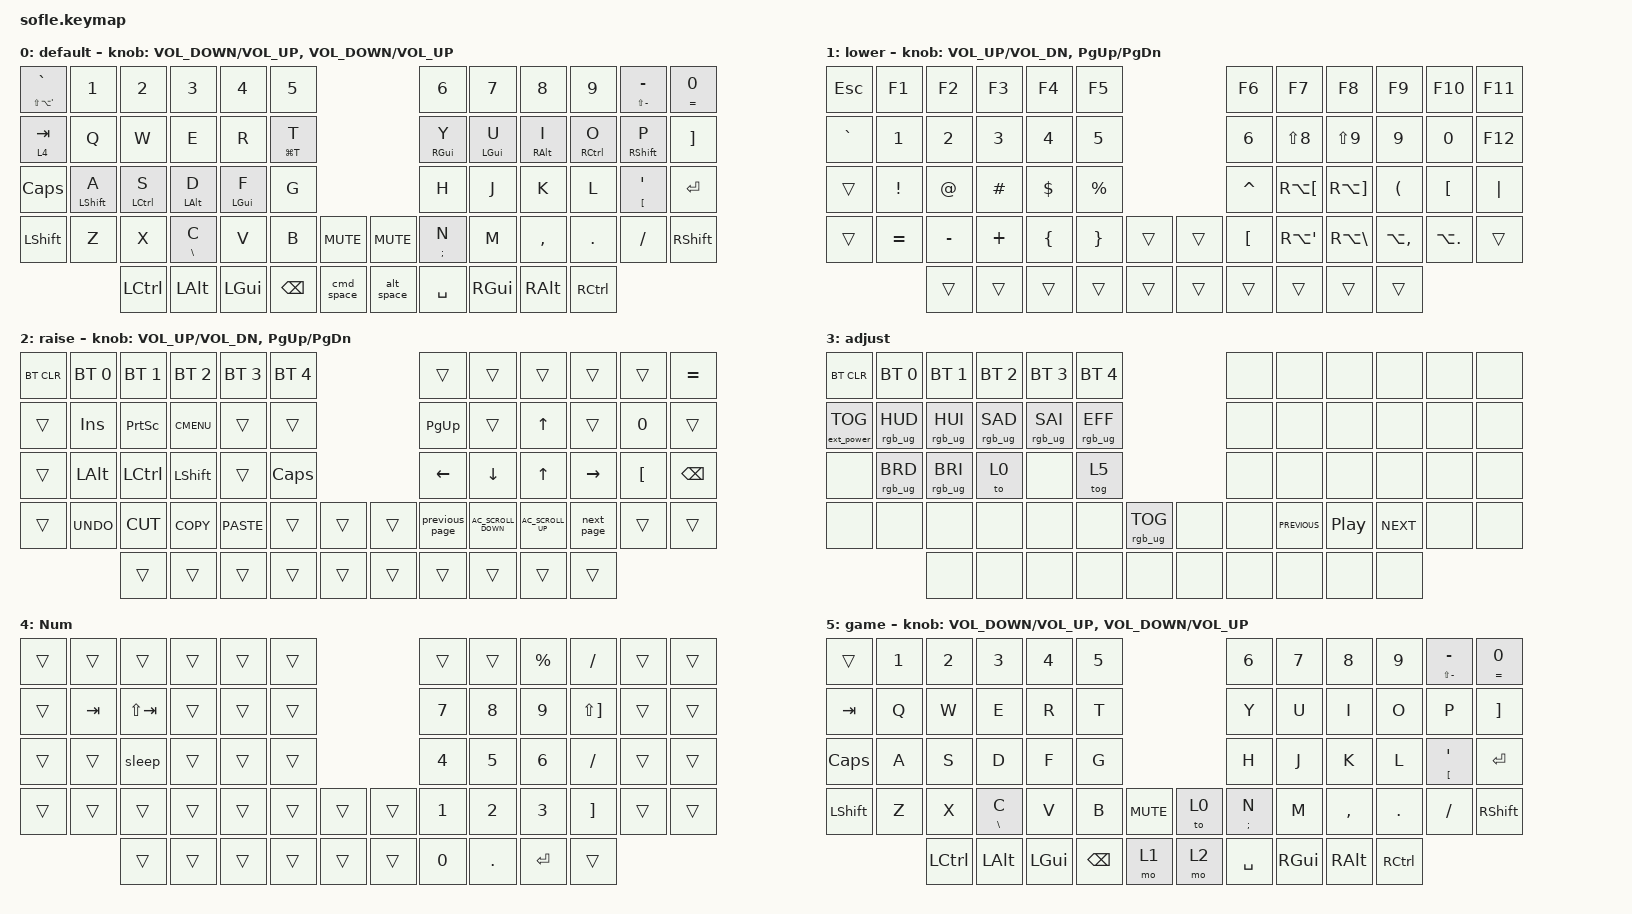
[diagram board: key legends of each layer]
/*
 * Copyright (c) 2020 The ZMK Contributors
 *
 * SPDX-License-Identifier: MIT
 */

#include <behaviors.dtsi>
#include <dt-bindings/zmk/bt.h>
#include <dt-bindings/zmk/ext_power.h>
#include <dt-bindings/zmk/keys.h>
#include <dt-bindings/zmk/rgb.h>

#define BASE 0
#define LOWER 1
#define RAISE 2
#define ADJUST 3

&mt {
    flavor = "tap-preferred";
    quick-tap-ms = <100>;
    require-prior-idle-ms = <125>;
    tapping-term-ms = <150>;
};

/ {
    // Activate ADJUST layer by pressing raise and lower

    conditional_layers {
        compatible = "zmk,conditional-layers";

        adjust_layer {
            if-layers = <1 2>;
            then-layer = <3>;
        };
    };

    behaviors {
        c_trencada: c_trencada {
            compatible = "zmk,behavior-hold-tap";
            label = "C_TRENCADA";
            bindings = <&kp>, <&kp>;

            #binding-cells = <2>;
            tapping-term-ms = <150>;
            hold-trigger-key-positions = <39>;
            quick-tap-ms = <50>;
            flavor = "tap-preferred";
            require-prior-idle-ms = <125>;
        };

        new_behavior2: new_behavior2 {
            compatible = "zmk,behavior-hold-tap";
            label = "NEW_BEHAVIOR2";
            bindings = <&mo>, <&kp>;

            #binding-cells = <2>;
            hold-trigger-key-positions = <12>;
            tapping-term-ms = <200>;
            quick-tap-ms = <100>;
            require-prior-idle-ms = <100>;
        };

        enya: enya {
            compatible = "zmk,behavior-hold-tap";
            label = "ENYA";
            bindings = <&kp>, <&kp>;

            #binding-cells = <2>;
            tapping-term-ms = <150>;
            quick-tap-ms = <50>;
            hold-trigger-key-positions = <44>;
            flavor = "tap-preferred";
            require-prior-idle-ms = <125>;
        };

        cmd_space: cmd_space {
            compatible = "zmk,behavior-tap-dance";
            label = "CMD_SPACE";
            #binding-cells = <0>;
            bindings = <&mo 1>, <&kp LG(SPACE)>;

            tapping-term-ms = <200>;
        };

        alt_space: alt_space {
            compatible = "zmk,behavior-tap-dance";
            label = "ALT_SPACE";
            #binding-cells = <0>;
            bindings = <&mo 2>, <&kp LA(SPACE)>;

            tapping-term-ms = <200>;
        };

        service_mode: service_mode {
            compatible = "zmk,behavior-hold-tap";
            label = "SERVICE_MODE";
            bindings = <&kp>, <&kp>;

            #binding-cells = <2>;
            tapping-term-ms = <150>;
            hold-trigger-key-positions = <0>;
        };

        cmd_t: cmd_t {
            compatible = "zmk,behavior-hold-tap";
            label = "CMD_T";
            bindings = <&kp>, <&kp>;

            #binding-cells = <2>;
            tapping-term-ms = <150>;
            flavor = "tap-preferred";
            hold-trigger-key-positions = <17>;
            require-prior-idle-ms = <125>;
        };
    };

    macros {
        previous_page: previous_page {
            compatible = "zmk,behavior-macro";
            #binding-cells = <0>;
            bindings = <&kp RG(SEMICOLON)>;
            label = "PREVIOUS_PAGE";
        };

        next_page: next_page {
            compatible = "zmk,behavior-macro";
            #binding-cells = <0>;
            bindings = <&kp RG(SINGLE_QUOTE)>;
            label = "NEXT_PAGE";
        };

        sleep: sleep {
            compatible = "zmk,behavior-macro";
            #binding-cells = <0>;
            bindings = <&kp LA(LG(LC(EQUAL)))>;
            label = "SLEEP";
        };
    };

    keymap {
        compatible = "zmk,keymap";

        default_layer {
            display-name = "default";

            // ------------------------------------------------------------------------------------------------------------
            // |   `   |  1  |  2  |  3   |  4   |  5   |                   |  6   |  7    |  8    |  9   |   0   |       |
            // |  ESC  |  Q  |  W  |  E   |  R   |  T   |                   |  Y   |  U    |  I    |  O   |   P   | BKSPC |
            // |  TAB  |  A  |  S  |  D   |  F   |  G   |                   |  H   |  J    |  K    |  L   |   ;   |   '   |
            // | SHIFT |  Z  |  X  |  C   |  V   |  B   |  MUTE  |  |       |  N   |  M    |  ,    |  .   |   /   | SHIFT |
            //               | GUI | ALT  | CTRL | LOWER|  ENTER |  | SPACE | RAISE| CTRL  | ALT   | GUI  |

            bindings = <
&service_mode LS(LA(SINGLE_QUOTE)) GRAVE  &kp N1            &kp N2       &kp N3                   &kp N4          &kp N5                                    &kp N6             &kp N7          &kp N8           &kp N9       &c_trencada LS(MINUS) MINUS            &c_trencada EQUAL N0
&new_behavior2 4 TAB                      &kp Q             &kp W        &kp E                    &kp R           &cmd_t LG(T) T                            &mt RIGHT_GUI Y    &mt LEFT_GUI U  &mt RIGHT_ALT I  &mt RCTRL O  &mt RIGHT_SHIFT P                      &kp RIGHT_BRACKET
&kp CAPS                                  &mt LEFT_SHIFT A  &mt LCTRL S  &mt LEFT_ALT D           &mt LEFT_GUI F  &kp G                                     &kp H              &kp J           &kp K            &kp L        &c_trencada LEFT_BRACKET SINGLE_QUOTE  &kp RETURN
&kp LSHFT                                 &kp Z             &kp X        &c_trencada BACKSLASH C  &kp V           &kp B           &kp C_MUTE    &kp C_MUTE  &enya SEMICOLON N  &kp M           &kp COMMA        &kp DOT      &kp FSLH                               &kp RSHFT
                                                            &kp LCTRL    &kp LALT                 &kp LGUI        &kp BACKSPACE   &cmd_space    &alt_space  &kp SPACE          &kp RGUI        &kp RALT         &kp RCTRL
            >;

            sensor-bindings =
                <&inc_dec_kp C_VOLUME_DOWN C_VOLUME_UP>,
                <&inc_dec_kp C_VOLUME_DOWN C_VOLUME_UP>;
        };

        lower_layer {
            display-name = "lower";

            // TODO: Some binds are waiting for shifted keycode support.
            // ------------------------------------------------------------------------------------------------------------
            // |       |  F1 |  F2 |  F3  |  F4  |  F5  |                   |  F6  |  F7   |  F8   |  F9  |  F10  |  F11  |
            // |   `   |  1  |  2  |  3   |  4   |  5   |                   |  6   |  7    |  8    |  9   |   0   |  F12  |
            // |       |  !  |  @  |  #   |  $   |  %   |                   |  ^   |  &    |  *    |  (   |   )   |   |   |
            // |       |  =  |  -  |  +   |  {   |  }   |        |  |       |  [   |  ]    |  ;    |  :   |   \   |       |
            //               |     |      |      |      |        |  |       |      |       |       |      |

            bindings = <
&kp ESCAPE  &kp F1     &kp F2     &kp F3    &kp F4    &kp F5                       &kp F6     &kp F7                &kp F8                 &kp F9         &kp F10           &kp F11
&kp GRAVE   &kp N1     &kp N2     &kp N3    &kp N4    &kp N5                       &kp N6     &kp LS(NUMBER_8)      &kp LS(NUMBER_9)       &kp N9         &kp N0            &kp F12
&trans      &kp EXCL   &kp AT     &kp HASH  &kp DLLR  &kp PRCNT                    &kp CARET  &kp RA(LEFT_BRACKET)  &kp RA(RIGHT_BRACKET)  &kp LPAR       &kp LEFT_BRACKET  &kp PIPE
&trans      &kp EQUAL  &kp MINUS  &kp PLUS  &kp LBRC  &kp RBRC   &trans    &trans  &kp LBKT   &kp RA(SINGLE_QUOTE)  &kp RA(BACKSLASH)      &kp LA(COMMA)  &kp LA(PERIOD)    &trans
                       &trans     &trans    &trans    &trans     &trans    &trans  &trans     &trans                &trans                 &trans
            >;

            sensor-bindings = <&inc_dec_kp C_VOL_UP C_VOL_DN &inc_dec_kp PG_UP PG_DN>;
        };

        raise_layer {
            display-name = "raise";

            // ------------------------------------------------------------------------------------------------------------
            // | BTCLR | BT1  | BT2  |  BT3  |  BT4  |  BT5 |                |      |      |       |      |       |       |
            // |       | INS  | PSCR | GUI   |       |      |                | PGUP |      |   ^   |      |       |       |
            // |       | ALT  | CTRL | SHIFT |       | CAPS |                | PGDN |   <- |   v   |  ->  |  DEL  | BKSPC |
            // |       | UNDO | CUT  | COPY  | PASTE |      |      |  |      |      |      |       |      |       |       |
            //                |      |       |       |      |      |  |      |      |      |       |      |

            bindings = <
&bt BT_CLR  &bt BT_SEL 0  &bt BT_SEL 1  &bt BT_SEL 2  &bt BT_SEL 3  &bt BT_SEL 4                    &trans          &trans                &trans              &trans      &trans            &kp EQUAL
&trans      &kp INS       &kp PSCRN     &kp K_CMENU   &trans        &trans                          &kp PG_UP       &trans                &kp UP              &trans      &kp N0            &trans
&trans      &kp LALT      &kp LCTRL     &kp LSHFT     &trans        &kp CLCK                        &kp LEFT_ARROW  &kp DOWN_ARROW        &kp UP_ARROW        &kp RIGHT   &kp LEFT_BRACKET  &kp BSPC
&trans      &kp K_UNDO    &kp K_CUT     &kp K_COPY    &kp K_PASTE   &trans        &trans    &trans  &previous_page  &kp C_AC_SCROLL_DOWN  &kp C_AC_SCROLL_UP  &next_page  &trans            &trans
                          &trans        &trans        &trans        &trans        &trans    &trans  &trans          &trans                &trans              &trans
            >;

            sensor-bindings = <&inc_dec_kp C_VOL_UP C_VOL_DN &inc_dec_kp PG_UP PG_DN>;
        };

        adjust_layer {
            // ----------------------------------------------------------------------------------------------------------------------------
            // | BTCLR  |  BT1    |  BT2    |   BT3   |   BT4   |   BT5   |                  |      |      |       |      |       |       |
            // | EXTPWR | RGB_HUD | RGB_HUI | RGB_SAD | RGB_SAI | RGB_EFF |                  |      |      |       |      |       |       |
            // |        | RGB_BRD | RGB_BRI |         |         |         |                  |      |      |       |      |       |       |
            // |        |         |         |         |         |         | RGB_TOG | |      |      |      |       |      |       |       |
            //                    |         |         |         |         |         | |      |      |      |       |      |

            display-name = "adjust";
            bindings = <
&bt BT_CLR         &bt BT_SEL 0     &bt BT_SEL 1     &bt BT_SEL 2     &bt BT_SEL 3     &bt BT_SEL 4                               &none  &none           &none             &none       &none  &none
&ext_power EP_TOG  &rgb_ug RGB_HUD  &rgb_ug RGB_HUI  &rgb_ug RGB_SAD  &rgb_ug RGB_SAI  &rgb_ug RGB_EFF                            &none  &none           &none             &none       &none  &none
&none              &rgb_ug RGB_BRD  &rgb_ug RGB_BRI  &to 0            &none            &tog 5                                     &none  &none           &none             &none       &none  &none
&none              &none            &none            &none            &none            &none            &rgb_ug RGB_TOG    &none  &none  &kp C_PREVIOUS  &kp C_PLAY_PAUSE  &kp C_NEXT  &none  &none
                                    &none            &none            &none            &none            &none              &none  &none  &none           &none             &none
            >;
        };

        layer_num {
            bindings = <
&trans  &trans   &trans       &trans  &trans  &trans                    &trans  &trans   &kp PERCENT  &kp SLASH              &trans  &trans
&trans  &kp TAB  &kp LS(TAB)  &trans  &trans  &trans                    &kp N7  &kp N8   &kp N9       &kp LS(RIGHT_BRACKET)  &trans  &trans
&trans  &trans   &sleep       &trans  &trans  &trans                    &kp N4  &kp N5   &kp N6       &kp SLASH              &trans  &trans
&trans  &trans   &trans       &trans  &trans  &trans  &trans    &trans  &kp N1  &kp N2   &kp N3       &kp RIGHT_BRACKET      &trans  &trans
                 &trans       &trans  &trans  &trans  &trans    &trans  &kp N0  &kp DOT  &kp ENTER    &trans
            >;

            label = "Num";
        };

        Game {
            display-name = "game";
            bindings = <
&trans     &kp N1  &kp N2     &kp N3                   &kp N4    &kp N5                              &kp N6             &kp N7    &kp N8     &kp N9     &c_trencada LS(MINUS) MINUS            &c_trencada EQUAL N0
&kp TAB    &kp Q   &kp W      &kp E                    &kp R     &kp T                               &kp Y              &kp U     &kp I      &kp O      &kp P                                  &kp RIGHT_BRACKET
&kp CAPS   &kp A   &kp S      &kp D                    &kp F     &kp G                               &kp H              &kp J     &kp K      &kp L      &c_trencada LEFT_BRACKET SINGLE_QUOTE  &kp RETURN
&kp LSHFT  &kp Z   &kp X      &c_trencada BACKSLASH C  &kp V     &kp B          &kp C_MUTE    &to 0  &enya SEMICOLON N  &kp M     &kp COMMA  &kp DOT    &kp FSLH                               &kp RSHFT
                   &kp LCTRL  &kp LALT                 &kp LGUI  &kp BACKSPACE  &mo 1         &mo 2  &kp SPACE          &kp RGUI  &kp RALT   &kp RCTRL
            >;

            sensor-bindings =
                <&inc_dec_kp C_VOLUME_DOWN C_VOLUME_UP>,
                <&inc_dec_kp C_VOLUME_DOWN C_VOLUME_UP>;
        };
    };
};
